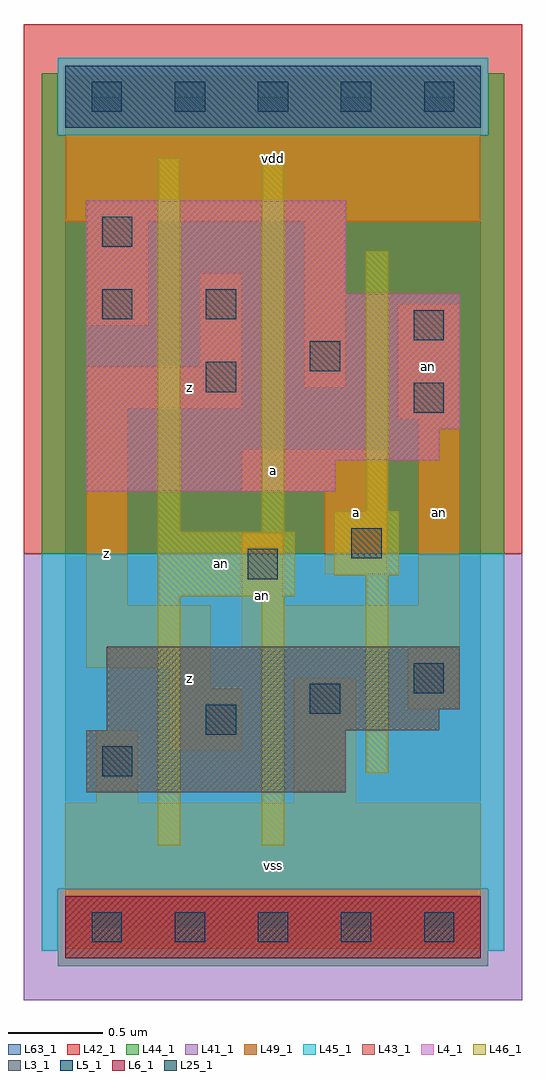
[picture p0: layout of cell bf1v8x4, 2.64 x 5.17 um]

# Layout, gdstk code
import gdstk
lib = gdstk.Library(unit=1e-6, precision=1e-09)
def R(c, l, rs):  # rectangles x0, y0, x1, y1
    for r in rs: c.add(gdstk.rectangle(r[:2], r[2:], *l))
def A(c, l, x, y, w, h, nx, ny, dx, dy):  # array of equal rectangles
    R(c, l, [(x+i*dx, y+j*dy, x+i*dx+w, y+j*dy+h) for i in range(nx) for j in range(ny)])
L3_1 = (3, 1)
L4_1 = (4, 1)
L5_1 = (5, 1)
L6_1 = (6, 1)
L25_1 = (25, 1)
L41_1 = (41, 1)
L42_1 = (42, 1)
L43_1 = (43, 1)
L44_1 = (44, 1)
L45_1 = (45, 1)
L46_1 = (46, 1)
L49_1 = (49, 1)
L63_1 = (63, 1)

bf1v8x4 = lib.new_cell('bf1v8x4')
R(bf1v8x4, L3_1, [(0.11,0.715,1.485,1.045), (0.22,1.045,1.98,1.155), (0.22,1.155,2.09,1.485)])
R(bf1v8x4, L4_1, [(0.11,2.31,1.43,2.475), (0.11,2.475,1.98,2.64), (0.11,2.64,2.09,3.355), (0.11,3.355,1.485,3.85)])
R(bf1v8x4, L5_1, [(0,4.235,2.2,4.565)])
R(bf1v8x4, L6_1, [(0,-0.165,2.2,0.165)])
A(bf1v8x4, L25_1, 0.14, -0.08, 0.16, 0.16, 5, 2, 0.44, 4.4)
R(bf1v8x4, L25_1, [(0.195,0.8,0.355,0.96), (0.745,1.02,0.905,1.18), (1.295,1.13,1.455,1.29), (1.845,1.24,2.005,1.4), (0.965,1.845,1.125,2.005), (1.515,1.955,1.675,2.115), (1.845,2.725,2.005,2.885), (0.745,2.835,0.905,2.995), (1.295,2.945,1.455,3.105), (1.845,3.11,2.005,3.27), (0.195,3.22,0.355,3.38), (0.745,3.22,0.905,3.38), (0.195,3.605,0.355,3.765)])
R(bf1v8x4, L41_1, [(-0.22,-0.385,2.42,1.98)])
R(bf1v8x4, L42_1, [(-0.22,1.98,2.42,4.785)])
R(bf1v8x4, L43_1, [(0,-0.165,2.2,0.165), (0.11,0.715,1.485,1.045), (0.22,1.045,1.98,1.155), (0.22,1.155,2.09,1.485), (0.11,2.31,1.43,2.475), (0.11,2.475,1.98,2.64), (0.11,2.64,2.09,3.355), (0.11,3.355,1.485,3.85), (0,4.235,2.2,4.565)])
R(bf1v8x4, L44_1, [(-0.04,-0.205,2.24,0.205), (-0.125,1.98,2.325,4.195), (-0.125,4.195,-0.04,4.525), (2.24,4.195,2.325,4.525)])
R(bf1v8x4, L45_1, [(-0.125,-0.125,-0.04,0.205), (2.24,-0.125,2.325,0.205), (-0.125,0.205,2.325,1.98), (-0.04,4.195,2.24,4.605)])
R(bf1v8x4, L46_1, [(0.49,0.435,0.61,1.755), (1.04,0.435,1.16,1.755), (1.59,0.82,1.71,1.865), (0.49,1.755,1.215,2.095), (1.425,1.865,1.765,2.205), (0.49,2.095,0.61,4.075), (1.04,2.095,1.16,4.075), (1.59,2.205,1.71,3.58)])
R(bf1v8x4, L49_1, [(0,-0.11,2.2,0.66), (0.165,0.66,0.385,1.045), (1.21,0.66,1.54,1.32), (0.55,0.935,0.935,1.265), (1.815,1.155,2.09,1.485), (0.55,1.265,0.77,1.375), (0.11,1.375,0.77,1.705), (0.935,1.485,2.09,1.705), (0.11,1.705,0.33,2.75), (0.935,1.705,1.155,2.09), (1.87,1.705,2.09,2.695), (1.375,1.87,1.705,2.31), (0.935,2.31,1.705,2.53), (1.76,2.695,2.09,3.3), (0.11,2.75,0.935,2.97), (1.265,2.86,1.485,3.74), (0.715,2.97,0.935,3.465), (0.11,3.19,0.44,3.74), (0,3.74,2.2,4.51)])
R(bf1v8x4, L63_1, [(0,0,2.2,4.4)])
bf1v8x4.add(gdstk.Label('an', (0.825,1.925), layer=46, texttype=1))
bf1v8x4.add(gdstk.Label('z', (0.22,1.98), layer=49, texttype=1))
bf1v8x4.add(gdstk.Label('z', (0.66,1.32), layer=49, texttype=1))
bf1v8x4.add(gdstk.Label('z', (0.66,2.86), layer=49, texttype=1))
bf1v8x4.add(gdstk.Label('vss', (1.1,0.33), layer=49, texttype=1))
bf1v8x4.add(gdstk.Label('an', (1.045,1.76), layer=49, texttype=1))
bf1v8x4.add(gdstk.Label('a', (1.54,2.2), layer=49, texttype=1))
bf1v8x4.add(gdstk.Label('a', (1.1,2.42), layer=49, texttype=1))
bf1v8x4.add(gdstk.Label('vdd', (1.1,4.07), layer=49, texttype=1))
bf1v8x4.add(gdstk.Label('an', (1.98,2.2), layer=49, texttype=1))
bf1v8x4.add(gdstk.Label('an', (1.925,2.97), layer=49, texttype=1))

lib.write_gds('bf1v8x4.gds')
